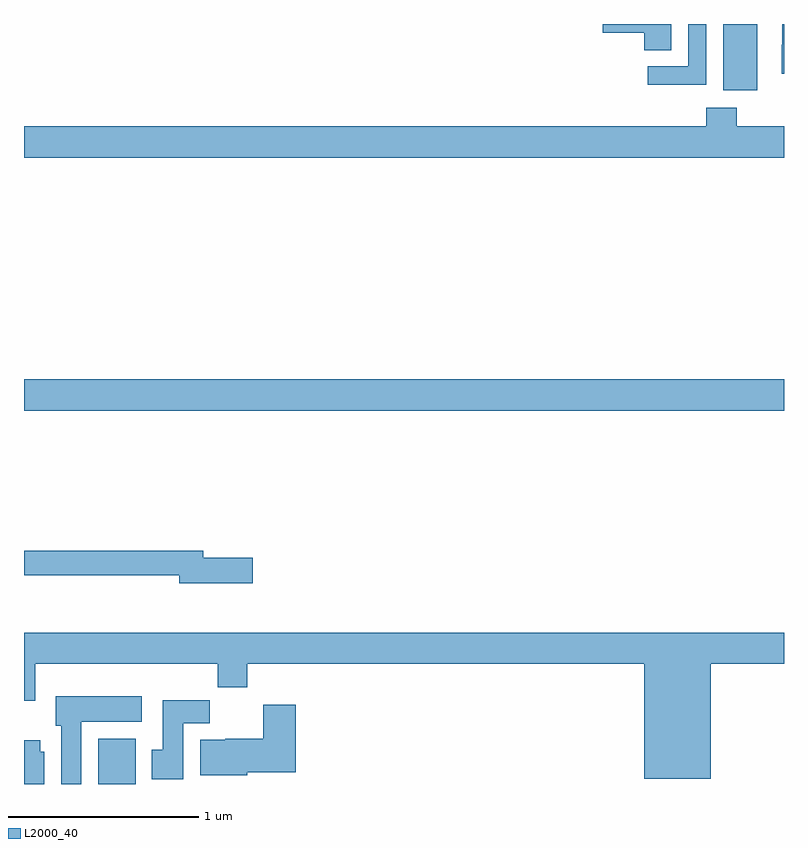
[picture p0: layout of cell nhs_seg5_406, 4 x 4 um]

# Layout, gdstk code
import gdstk
lib = gdstk.Library(unit=1e-6, precision=1e-09)
def R(c, l, rs):  # rectangles x0, y0, x1, y1
    for r in rs: c.add(gdstk.rectangle(r[:2], r[2:], *l))
def P(c, l, *ps):  # polygons
    for p in ps: c.add(gdstk.Polygon(p, *l))
L2000_40 = (2000, 40)

nhs_seg5_406 = lib.new_cell('nhs_seg5_406')
R(nhs_seg5_406, L2000_40, [(137.391,850.799,137.587,851.038), (137,852.764,141,852.928), (140.681,854.45,140.86,854.799)])
P(nhs_seg5_406, L2000_40, [(140.592,854.799),(140.496,854.799),(140.496,854.577),(140.283,854.577),(140.283,854.479),(140.592,854.479)],
  [(141,854.799),(140.99,854.799),(140.99,854.69),(140.988,854.69),(140.988,854.536),(141,854.536)],
  [(140.407,854.799),(140.046,854.799),(140.046,854.753),(140.264,854.753),(140.264,854.662),(140.407,854.662)],
  [(141,854.26),(140.751,854.26),(140.751,854.359),(140.591,854.359),(140.591,854.26),(137,854.26),(137,854.096),(141,854.096)],
  [(138.205,851.99),(137.944,851.99),(137.944,852.026),(137,852.026),(137,851.898),(137.816,851.898),(137.816,851.855),(138.205,851.855)],
  [(140.614,851.432),(141,851.432),(141,851.596),(137,851.596),(137,851.238),(137.059,851.238),(137.059,851.432),(138.019,851.432),(138.019,851.308),(138.176,851.308),(138.176,851.432),(140.264,851.432),(140.264,850.826),(140.614,850.826)],
  [(137.302,851.126),(137.62,851.126),(137.62,851.26),(137.168,851.26),(137.168,851.106),(137.195,851.106),(137.195,850.799),(137.302,850.799)],
  [(137.839,851.12),(137.978,851.12),(137.978,851.239),(137.729,851.239),(137.729,850.98),(137.672,850.98),(137.672,850.824),(137.839,850.824)],
  [(138.174,850.862),(138.431,850.862),(138.431,851.215),(138.26,851.215),(138.26,851.038),(138.06,851.038),(138.06,851.032),(137.927,851.032),(137.927,850.844),(138.174,850.844)],
  [(137.107,850.968),(137.086,850.968),(137.086,851.029),(137,851.029),(137,850.799),(137.107,850.799)])

lib.write_gds('nhs_seg5_406.gds')
